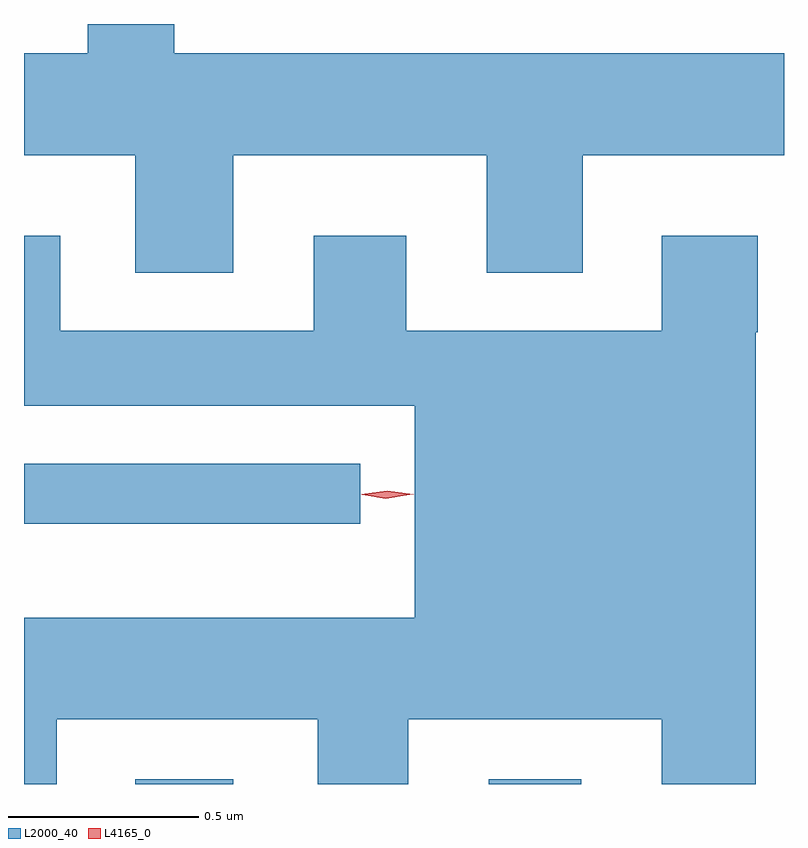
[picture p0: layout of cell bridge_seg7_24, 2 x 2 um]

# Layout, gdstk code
import gdstk
lib = gdstk.Library(unit=1e-6, precision=1e-09)
def R(c, l, rs):  # rectangles x0, y0, x1, y1
    for r in rs: c.add(gdstk.rectangle(r[:2], r[2:], *l))
def P(c, l, *ps):  # polygons
    for p in ps: c.add(gdstk.Polygon(p, *l))
L2000_40 = (2000, 40)
L4165_0 = (4165, 0)

bridge_seg7_24 = lib.new_cell('bridge_seg7_24')
R(bridge_seg7_24, L2000_40, [(1866.216,1781.481,1866.474,1781.494), (1867.146,1781.481,1867.389,1781.494), (1865.923,1782.166,1866.808,1782.324)])
P(bridge_seg7_24, L2000_40, [(1866.474,1783.136),(1867.141,1783.136),(1867.141,1782.826),(1867.394,1782.826),(1867.394,1783.136),(1867.923,1783.136),(1867.923,1783.404),(1866.319,1783.404),(1866.319,1783.481),(1866.091,1783.481),(1866.091,1783.404),(1865.923,1783.404),(1865.923,1783.136),(1866.216,1783.136),(1866.216,1782.826),(1866.474,1782.826)],
  [(1866.009,1781.651),(1866.696,1781.651),(1866.696,1781.481),(1866.934,1781.481),(1866.934,1781.651),(1867.601,1781.651),(1867.601,1781.481),(1867.849,1781.481),(1867.849,1782.67),(1867.854,1782.67),(1867.854,1782.924),(1867.601,1782.924),(1867.601,1782.674),(1866.929,1782.674),(1866.929,1782.924),(1866.686,1782.924),(1866.686,1782.674),(1866.019,1782.674),(1866.019,1782.924),(1865.923,1782.924),(1865.923,1782.476),(1866.951,1782.476),(1866.951,1781.919),(1865.923,1781.919),(1865.923,1781.481),(1866.009,1781.481)])
P(bridge_seg7_24, L4165_0, [(1866.879,1782.233),(1866.81,1782.243),(1866.809,1782.243),(1866.81,1782.244),(1866.879,1782.253),(1866.947,1782.244),(1866.948,1782.243),(1866.947,1782.243)],
  [(1866.875,1782.232),(1866.813,1782.242),(1866.813,1782.242),(1866.813,1782.242),(1866.875,1782.252),(1866.937,1782.242),(1866.937,1782.242),(1866.937,1782.242)])

lib.write_gds('bridge_seg7_24.gds')
